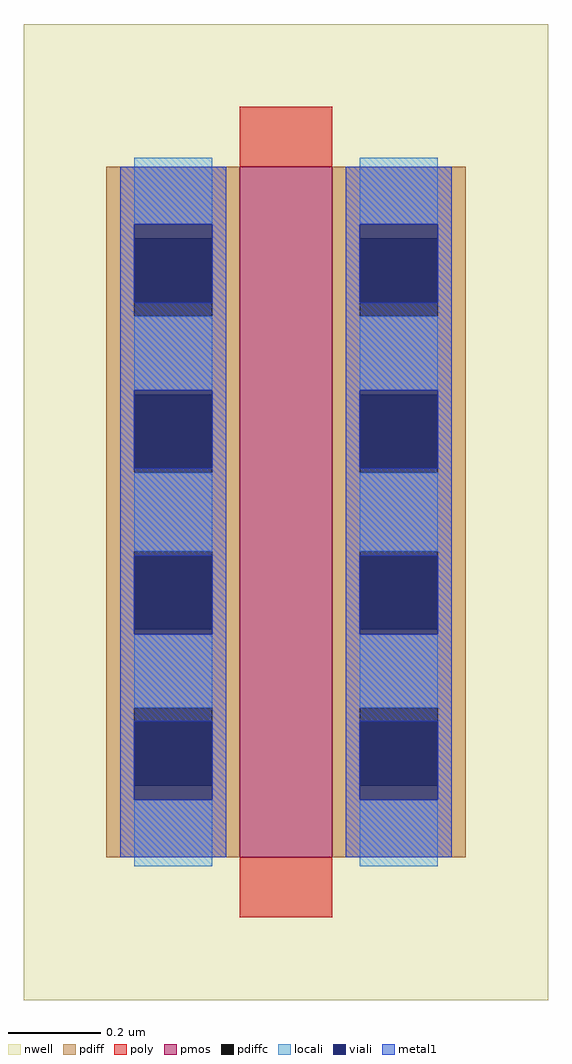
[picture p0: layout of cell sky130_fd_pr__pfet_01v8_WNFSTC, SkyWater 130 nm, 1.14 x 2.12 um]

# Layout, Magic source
magic
tech sky130A
magscale 1 2
<< nwell >>
rect -114 -212 114 212
<< pmos >>
rect -20 -150 20 150
<< pdiff >>
rect -78 119 -20 150
rect -78 85 -66 119
rect -32 85 -20 119
rect -78 51 -20 85
rect -78 17 -66 51
rect -32 17 -20 51
rect -78 -17 -20 17
rect -78 -51 -66 -17
rect -32 -51 -20 -17
rect -78 -85 -20 -51
rect -78 -119 -66 -85
rect -32 -119 -20 -85
rect -78 -150 -20 -119
rect 20 119 78 150
rect 20 85 32 119
rect 66 85 78 119
rect 20 51 78 85
rect 20 17 32 51
rect 66 17 78 51
rect 20 -17 78 17
rect 20 -51 32 -17
rect 66 -51 78 -17
rect 20 -85 78 -51
rect 20 -119 32 -85
rect 66 -119 78 -85
rect 20 -150 78 -119
<< pdiffc >>
rect -66 85 -32 119
rect -66 17 -32 51
rect -66 -51 -32 -17
rect -66 -119 -32 -85
rect 32 85 66 119
rect 32 17 66 51
rect 32 -51 66 -17
rect 32 -119 66 -85
<< poly >>
rect -20 150 20 176
rect -20 -176 20 -150
<< locali >>
rect -66 125 -32 154
rect -66 53 -32 85
rect -66 -17 -32 17
rect -66 -85 -32 -53
rect -66 -154 -32 -125
rect 32 125 66 154
rect 32 53 66 85
rect 32 -17 66 17
rect 32 -85 66 -53
rect 32 -154 66 -125
<< viali >>
rect -66 119 -32 125
rect -66 91 -32 119
rect -66 51 -32 53
rect -66 19 -32 51
rect -66 -51 -32 -19
rect -66 -53 -32 -51
rect -66 -119 -32 -91
rect -66 -125 -32 -119
rect 32 119 66 125
rect 32 91 66 119
rect 32 51 66 53
rect 32 19 66 51
rect 32 -51 66 -19
rect 32 -53 66 -51
rect 32 -119 66 -91
rect 32 -125 66 -119
<< metal1 >>
rect -72 125 -26 150
rect -72 91 -66 125
rect -32 91 -26 125
rect -72 53 -26 91
rect -72 19 -66 53
rect -32 19 -26 53
rect -72 -19 -26 19
rect -72 -53 -66 -19
rect -32 -53 -26 -19
rect -72 -91 -26 -53
rect -72 -125 -66 -91
rect -32 -125 -26 -91
rect -72 -150 -26 -125
rect 26 125 72 150
rect 26 91 32 125
rect 66 91 72 125
rect 26 53 72 91
rect 26 19 32 53
rect 66 19 72 53
rect 26 -19 72 19
rect 26 -53 32 -19
rect 66 -53 72 -19
rect 26 -91 72 -53
rect 26 -125 32 -91
rect 66 -125 72 -91
rect 26 -150 72 -125
<< end >>
